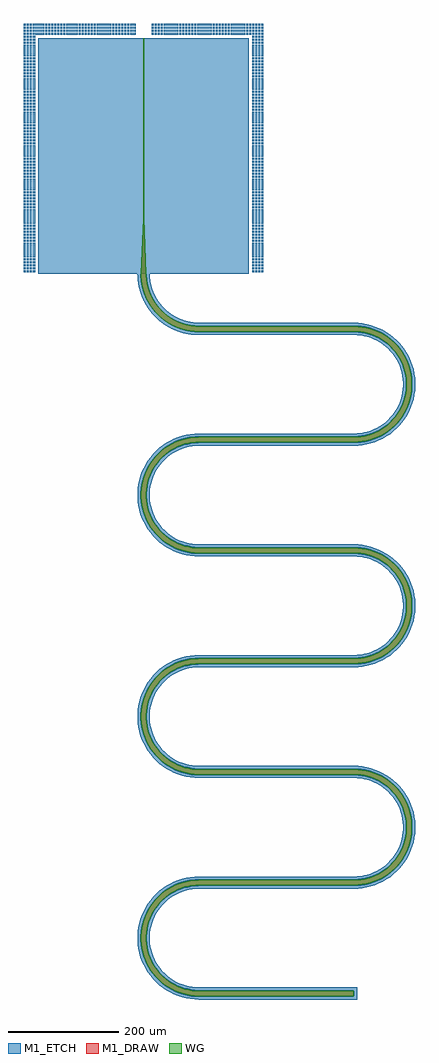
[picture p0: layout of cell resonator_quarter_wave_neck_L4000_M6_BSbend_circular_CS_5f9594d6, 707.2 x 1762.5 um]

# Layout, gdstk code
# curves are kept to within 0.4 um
from math import pi, radians
import gdstk
lib = gdstk.Library(unit=1e-6, precision=1e-09)
def R(c, l, rs):  # rectangles x0, y0, x1, y1
    for r in rs: c.add(gdstk.rectangle(r[:2], r[2:], *l))
def A(c, l, x, y, w, h, nx, ny, dx, dy):  # array of equal rectangles
    R(c, l, [(x+i*dx, y+j*dy, x+i*dx+w, y+j*dy+h) for i in range(nx) for j in range(ny)])
def P(c, l, *ps):  # polygons
    for p in ps: c.add(gdstk.Polygon(p, *l))
M1_DRAW = (1, 0)
M1_ETCH = (1, 1)
WG = (102, 0)

straight_l279p7642857142 = lib.new_cell('straight_L279p7642857142857_CScoplanar_waveguide_N2')
R(straight_l279p7642857142, M1_DRAW, [(0,-5,279.764,5)])
R(straight_l279p7642857142, M1_ETCH, [(0,-11,279.764,-5), (0,5,279.764,11)])
R(straight_l279p7642857142, WG, [(0,-5,279.764,5)])

bend_circular_a180_r100_ = lib.new_cell('bend_circular_A180_R100_NNone_CScoplanar_waveguide_AMRVTrue_AS4')
P(bend_circular_a180_r100_, M1_DRAW, [(0,-5),(0,5),(13.221,5.928),(19.751,7.079),(26.185,8.683),(38.639,13.216),(50.341,19.438),(55.838,23.146),(61.063,27.228),(70.596,36.435),(78.756,46.878),(85.383,58.356),(88.08,64.414),(92.175,77.018),(93.554,83.504),(94.939,96.685),(94.477,109.93),(93.554,116.496),(92.175,122.982),(88.08,135.586),(85.383,141.644),(78.756,153.122),(70.596,163.565),(61.063,172.772),(55.838,176.854),(50.341,180.562),(38.639,186.784),(26.185,191.317),(19.751,192.921),(13.221,194.072),(0,195),(0,205),(14.614,203.981),(28.943,200.935),(35.913,198.671),(42.709,195.925),(55.643,189.048),(67.495,180.437),(72.941,175.533),(82.744,164.646),(87.051,158.717),(90.935,152.502),(97.357,139.335),(99.864,132.448),(103.408,118.234),(104.939,103.665),(104.428,89.024),(103.408,81.766),(99.864,67.552),(97.357,60.665),(90.935,47.498),(87.051,41.283),(82.744,35.354),(72.941,24.467),(67.495,19.563),(55.643,10.952),(42.709,4.075),(35.913,1.329),(28.943,-0.935),(14.614,-3.981)])
P(bend_circular_a180_r100_, M1_ETCH, [(0,-11),(0,-5),(14.614,-3.981),(28.943,-0.935),(35.913,1.329),(42.709,4.075),(55.643,10.952),(67.495,19.563),(72.941,24.467),(82.744,35.354),(87.051,41.283),(90.935,47.498),(97.357,60.665),(99.864,67.552),(103.408,81.766),(104.939,96.335),(104.428,110.976),(103.408,118.234),(99.864,132.448),(97.357,139.335),(90.935,152.502),(82.744,164.646),(78.032,170.261),(67.495,180.437),(55.643,189.048),(49.296,192.712),(35.913,198.671),(21.831,202.708),(7.325,204.747),(0,205),(0,211),(15.449,209.926),(23.08,208.581),(37.967,204.312),(45.15,201.41),(58.825,194.139),(71.354,185.036),(77.112,179.852),(87.474,168.343),(92.029,162.074),(96.135,155.503),(102.924,141.584),(105.574,134.303),(109.32,119.276),(110.939,103.874),(110.399,88.397),(109.32,80.724),(105.574,65.697),(102.924,58.416),(96.135,44.497),(92.029,37.926),(87.474,31.657),(77.112,20.148),(71.354,14.964),(58.825,5.861),(45.15,-1.41),(37.967,-4.312),(23.08,-8.581),(15.449,-9.926)],
  [(0,5),(0,11),(12.385,11.873),(18.503,12.951),(24.53,14.454),(36.197,18.701),(47.159,24.529),(57.204,31.827),(61.82,35.984),(70.128,45.21),(73.779,50.236),(79.987,60.988),(84.638,72.5),(86.35,78.471),(88.506,90.698),(88.939,96.894),(88.506,109.302),(86.35,121.529),(84.638,127.5),(79.987,139.012),(77.07,144.497),(70.128,154.79),(66.135,159.548),(57.204,168.173),(52.309,171.997),(47.159,175.471),(36.197,181.299),(24.53,185.546),(18.503,187.049),(12.385,188.127),(0,189),(0,195),(13.221,194.072),(19.751,192.921),(26.185,191.317),(38.639,186.784),(50.341,180.562),(61.063,172.772),(65.99,168.335),(74.859,158.486),(78.756,153.122),(85.383,141.644),(88.08,135.586),(92.175,122.982),(94.477,109.93),(94.939,103.315),(94.477,90.07),(93.554,83.504),(92.175,77.018),(88.08,64.414),(85.383,58.356),(78.756,46.878),(74.859,41.514),(65.99,31.665),(61.063,27.228),(50.341,19.438),(38.639,13.216),(26.185,8.683),(19.751,7.079),(13.221,5.928)])
P(bend_circular_a180_r100_, WG, [(0,-5),(0,5),(13.221,5.928),(19.751,7.079),(26.185,8.683),(38.639,13.216),(50.341,19.438),(55.838,23.146),(61.063,27.228),(70.596,36.435),(78.756,46.878),(85.383,58.356),(88.08,64.414),(92.175,77.018),(93.554,83.504),(94.939,96.685),(94.477,109.93),(93.554,116.496),(92.175,122.982),(88.08,135.586),(85.383,141.644),(78.756,153.122),(70.596,163.565),(61.063,172.772),(55.838,176.854),(50.341,180.562),(38.639,186.784),(26.185,191.317),(19.751,192.921),(13.221,194.072),(0,195),(0,205),(14.614,203.981),(28.943,200.935),(35.913,198.671),(42.709,195.925),(55.643,189.048),(67.495,180.437),(72.941,175.533),(82.744,164.646),(87.051,158.717),(90.935,152.502),(97.357,139.335),(99.864,132.448),(103.408,118.234),(104.939,103.665),(104.428,89.024),(103.408,81.766),(99.864,67.552),(97.357,60.665),(90.935,47.498),(87.051,41.283),(82.744,35.354),(72.941,24.467),(67.495,19.563),(55.643,10.952),(42.709,4.075),(35.913,1.329),(28.943,-0.935),(14.614,-3.981)])

rectangle_gdsfactorypcom = lib.new_cell('rectangle_gdsfactorypcomponentspshapesprectangle_S6_22__2d316d18')
R(rectangle_gdsfactorypcom, M1_ETCH, [(-3,-11,3,11)])

resonator_l3842p92_m6_bs = lib.new_cell('resonator_L3842p92_M6_BSbend_circular_CScoplanar_wavegu_da66f55e')
resonator_l3842p92_m6_bs.add(gdstk.Reference(straight_l279p7642857142, (0,0)))
resonator_l3842p92_m6_bs.add(gdstk.Reference(bend_circular_a180_r100_, (279.764,0), x_reflection=True))
resonator_l3842p92_m6_bs.add(gdstk.Reference(straight_l279p7642857142, (279.764,-200), rotation=pi))
resonator_l3842p92_m6_bs.add(gdstk.Reference(bend_circular_a180_r100_, (0,-200), rotation=pi))
resonator_l3842p92_m6_bs.add(gdstk.Reference(straight_l279p7642857142, (0,-400)))
resonator_l3842p92_m6_bs.add(gdstk.Reference(bend_circular_a180_r100_, (279.764,-400), x_reflection=True))
resonator_l3842p92_m6_bs.add(gdstk.Reference(straight_l279p7642857142, (279.764,-600), rotation=pi))
resonator_l3842p92_m6_bs.add(gdstk.Reference(bend_circular_a180_r100_, (0,-600), rotation=pi))
resonator_l3842p92_m6_bs.add(gdstk.Reference(straight_l279p7642857142, (0,-800)))
resonator_l3842p92_m6_bs.add(gdstk.Reference(bend_circular_a180_r100_, (279.764,-800), x_reflection=True))
resonator_l3842p92_m6_bs.add(gdstk.Reference(straight_l279p7642857142, (279.764,-1000), rotation=pi))
resonator_l3842p92_m6_bs.add(gdstk.Reference(bend_circular_a180_r100_, (0,-1000), rotation=pi))
resonator_l3842p92_m6_bs.add(gdstk.Reference(straight_l279p7642857142, (0,-1200)))
resonator_l3842p92_m6_bs.add(gdstk.Reference(rectangle_gdsfactorypcom, (282.764,-1200)))

bend_circular_a90_r100_n = lib.new_cell('bend_circular_A90_R100_NNone_CScoplanar_waveguide_AMRVTrue')
P(bend_circular_a90_r100_n, M1_DRAW, [(0,-5),(0,5),(9.312,5.457),(18.534,6.825),(27.806,9.16),(36.355,12.231),(44.783,16.217),(52.779,21.01),(60.267,26.564),(67.006,32.656),(73.284,39.548),(78.99,47.221),(83.783,55.217),(87.769,63.645),(90.84,72.194),(93.175,81.466),(94.543,90.688),(95,100),(105,100),(104.468,89.445),(102.931,79.256),(100.402,69.267),(97.007,59.818),(92.602,50.503),(87.451,41.885),(81.334,33.593),(74.433,25.941),(67.019,19.17),(58.774,12.99),(49.73,7.523),(40.426,3.094),(30.733,-0.402),(20.744,-2.931),(10.555,-4.468)])
P(bend_circular_a90_r100_n, M1_ETCH, [(0,-11),(0,-5),(11.606,-4.357),(23.586,-2.317),(35.249,1.093),(46.44,5.828),(60.945,14.497),(74.059,25.567),(85.195,38.625),(93.937,53.086),(98.818,64.502),(102.197,75.9),(104.297,87.869),(105,100),(111,100),(110.466,89.12),(108.867,78.345),(106.22,67.778),(102.551,57.522),(97.893,47.675),(92.138,38.1),(85.804,29.582),(78.489,21.511),(70.418,14.196),(61.9,7.862),(52.325,2.107),(42.478,-2.551),(32.222,-6.22),(21.655,-8.867),(10.88,-10.466)],
  [(0,5),(0,11),(8.501,11.407),(17.363,12.71),(25.835,14.832),(33.852,17.689),(41.559,21.299),(49.073,25.751),(56.288,31.06),(62.774,36.909),(68.656,43.366),(74.001,50.554),(78.385,57.848),(82.139,65.734),(85.037,73.736),(87.246,82.417),(88.549,91.054),(89,100),(95,100),(94.543,90.688),(93.175,81.466),(90.84,72.194),(87.769,63.645),(83.783,55.217),(78.99,47.221),(73.436,39.733),(67.344,32.994),(60.452,26.716),(52.779,21.01),(44.783,16.217),(36.355,12.231),(27.806,9.16),(18.534,6.825),(9.312,5.457)])
P(bend_circular_a90_r100_n, WG, [(0,-5),(0,5),(9.312,5.457),(18.534,6.825),(27.806,9.16),(36.355,12.231),(44.783,16.217),(52.779,21.01),(60.267,26.564),(67.006,32.656),(73.284,39.548),(78.99,47.221),(83.783,55.217),(87.769,63.645),(90.84,72.194),(93.175,81.466),(94.543,90.688),(95,100),(105,100),(104.468,89.445),(102.931,79.256),(100.402,69.267),(97.007,59.818),(92.602,50.503),(87.451,41.885),(81.334,33.593),(74.433,25.941),(67.019,19.17),(58.774,12.99),(49.73,7.523),(40.426,3.094),(30.733,-0.402),(20.744,-2.931),(10.555,-4.468)])

neck_termination_cscopla = lib.new_cell('neck_termination_CScoplanar_waveguide_TL100_TSlinear_NW_1fd2f1eb')
P(neck_termination_cscopla, M1_DRAW, [(0,-5),(0,5),(100,1),(425,1),(425,-1),(100,-1)])
A(neck_termination_cscopla, M1_ETCH, 2, -216.5, 4, 4, 82, 4, 5.5, 5.5)
A(neck_termination_cscopla, M1_ETCH, 431, -194.5, 4, 4, 4, 33, 5.5, 5.5)
A(neck_termination_cscopla, M1_ETCH, 431, 14.5, 4, 4, 4, 33, 5.5, 5.5)
A(neck_termination_cscopla, M1_ETCH, 2, 196, 4, 4, 82, 4, 5.5, 5.5)
R(neck_termination_cscopla, M1_ETCH, [(0,-190,425,190)])
P(neck_termination_cscopla, WG, [(0,-5),(0,5),(100,1),(425,1),(425,-1),(100,-1)])

resonator_quarter_wave_n = lib.new_cell('resonator_quarter_wave_neck_L4000_M6_BSbend_circular_CS_5f9594d6')
resonator_quarter_wave_n.add(gdstk.Reference(resonator_l3842p92_m6_bs, (0,0)))
resonator_quarter_wave_n.add(gdstk.Reference(bend_circular_a90_r100_n, (0,0), rotation=pi, x_reflection=True))
resonator_quarter_wave_n.add(gdstk.Reference(neck_termination_cscopla, (-100,100), rotation=pi/2))

lib.write_gds('resonator_quarter_wave_neck_L4000_M6_BSbend_circular_CS_5f9594d6.gds')
